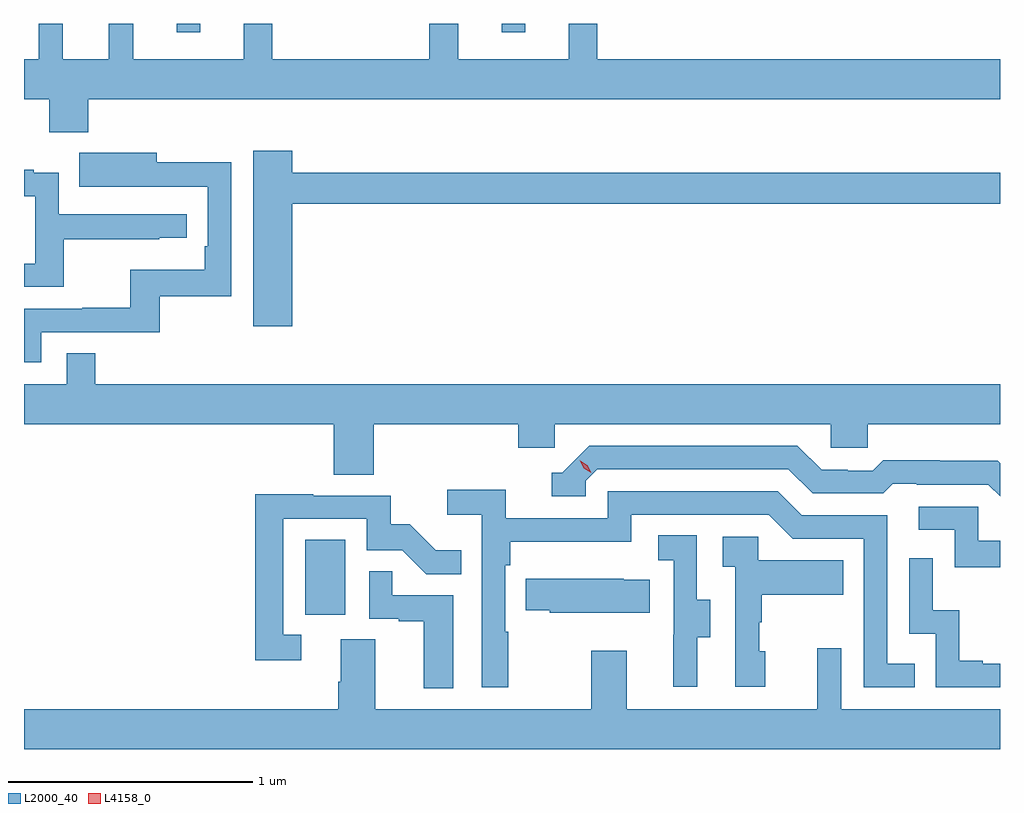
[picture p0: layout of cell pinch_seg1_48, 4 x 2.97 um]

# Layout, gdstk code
import gdstk
lib = gdstk.Library(unit=1e-6, precision=1e-09)
def R(c, l, rs):  # rectangles x0, y0, x1, y1
    for r in rs: c.add(gdstk.rectangle(r[:2], r[2:], *l))
def P(c, l, *ps):  # polygons
    for p in ps: c.add(gdstk.Polygon(p, *l))
L2000_40 = (2000, 40)
L4158_0 = (4158, 0)

pinch_seg1_48 = lib.new_cell('pinch_seg1_48')
R(pinch_seg1_48, L2000_40, [(1066.862,572.262,1067.026,572.569), (1066.335,574.65,1066.432,574.684), (1067.667,574.65,1067.764,574.684)])
P(pinch_seg1_48, L2000_40, [(1065.974,574.376),(1069.71,574.376),(1069.71,574.54),(1068.059,574.54),(1068.059,574.684),(1067.942,574.684),(1067.942,574.54),(1067.489,574.54),(1067.489,574.684),(1067.371,574.684),(1067.371,574.54),(1066.727,574.54),(1066.727,574.684),(1066.61,574.684),(1066.61,574.54),(1066.157,574.54),(1066.157,574.684),(1066.058,574.684),(1066.058,574.54),(1065.869,574.54),(1065.869,574.684),(1065.771,574.684),(1065.771,574.54),(1065.71,574.54),(1065.71,574.376),(1065.814,574.376),(1065.814,574.241),(1065.974,574.241)],
  [(1066.81,573.946),(1069.71,573.946),(1069.71,574.075),(1066.81,574.075),(1066.81,574.165),(1066.649,574.165),(1066.649,573.444),(1066.81,573.444)],
  [(1065.78,573.42),(1066.267,573.42),(1066.267,573.567),(1066.56,573.567),(1066.56,574.118),(1066.255,574.118),(1066.255,574.156),(1065.937,574.156),(1065.937,574.016),(1066.151,574.016),(1066.151,574.017),(1066.464,574.017),(1066.464,573.772),(1066.451,573.772),(1066.451,573.676),(1066.146,573.676),(1066.146,573.521),(1065.949,573.521),(1065.949,573.516),(1065.71,573.516),(1065.71,573.297),(1065.78,573.297)],
  [(1065.872,573.802),(1066.265,573.802),(1066.265,573.807),(1066.378,573.807),(1066.378,573.903),(1065.852,573.903),(1065.852,574.075),(1065.749,574.075),(1065.749,574.087),(1065.71,574.087),(1065.71,573.978),(1065.756,573.978),(1065.756,573.702),(1065.71,573.702),(1065.71,573.606),(1065.872,573.606)],
  [(1067.144,573.044),(1067.735,573.044),(1067.735,572.946),(1067.886,572.946),(1067.886,573.044),(1069.017,573.044),(1069.017,572.946),(1069.167,572.946),(1069.167,573.044),(1069.71,573.044),(1069.71,573.208),(1066.001,573.208),(1066.001,573.335),(1065.885,573.335),(1065.885,573.208),(1065.71,573.208),(1065.71,573.044),(1066.979,573.044),(1066.979,572.836),(1067.144,572.836)],
  [(1068.012,572.811),(1068.06,572.859),(1068.843,572.859),(1068.942,572.76),(1069.231,572.76),(1069.27,572.799),(1069.369,572.799),(1069.369,572.796),(1069.662,572.796),(1069.71,572.748),(1069.71,572.883),(1069.7,572.893),(1069.464,572.893),(1069.464,572.896),(1069.231,572.896),(1069.189,572.853),(1069.086,572.853),(1069.086,572.856),(1068.979,572.856),(1068.88,572.955),(1068.027,572.955),(1067.916,572.844),(1067.873,572.844),(1067.873,572.748),(1068.012,572.748)],
  [(1067.695,572.192),(1067.682,572.192),(1067.682,572.465),(1067.702,572.465),(1067.702,572.561),(1068.198,572.561),(1068.198,572.673),(1068.762,572.673),(1068.861,572.574),(1069.152,572.574),(1069.152,571.965),(1069.361,571.965),(1069.361,572.061),(1069.248,572.061),(1069.248,572.67),(1068.898,572.67),(1068.799,572.769),(1068.102,572.769),(1068.102,572.658),(1067.684,572.658),(1067.684,572.774),(1067.445,572.774),(1067.445,572.672),(1067.586,572.672),(1067.586,571.965),(1067.695,571.965)],
  [(1066.846,572.181),(1066.773,572.181),(1066.773,572.655),(1067.115,572.655),(1067.115,572.526),(1067.26,572.526),(1067.358,572.428),(1067.501,572.428),(1067.501,572.527),(1067.397,572.527),(1067.29,572.634),(1067.214,572.634),(1067.214,572.751),(1066.895,572.751),(1066.895,572.756),(1066.657,572.756),(1066.657,572.076),(1066.846,572.076)],
  [(1069.71,572.565),(1069.62,572.565),(1069.62,572.706),(1069.377,572.706),(1069.377,572.61),(1069.524,572.61),(1069.524,572.457),(1069.71,572.457)],
  [(1068.469,572.17),(1068.523,572.17),(1068.523,572.325),(1068.468,572.325),(1068.468,572.588),(1068.309,572.588),(1068.309,572.485),(1068.372,572.485),(1068.372,572.181),(1068.371,572.181),(1068.371,571.968),(1068.469,571.968)],
  [(1068.748,572.112),(1068.723,572.112),(1068.723,572.231),(1068.733,572.231),(1068.733,572.345),(1069.067,572.345),(1069.067,572.485),(1068.72,572.485),(1068.72,572.583),(1068.573,572.583),(1068.573,572.459),(1068.624,572.459),(1068.624,571.968),(1068.748,571.968)],
  [(1069.71,572.061),(1069.639,572.061),(1069.639,572.074),(1069.544,572.074),(1069.544,572.282),(1069.434,572.282),(1069.434,572.494),(1069.338,572.494),(1069.338,572.184),(1069.446,572.184),(1069.446,571.965),(1069.71,571.965)],
  [(1067.47,572.343),(1067.219,572.343),(1067.219,572.441),(1067.124,572.441),(1067.124,572.247),(1067.245,572.247),(1067.245,572.235),(1067.348,572.235),(1067.348,571.961),(1067.47,571.961)],
  [(1068.275,572.407),(1068.167,572.407),(1068.167,572.41),(1067.767,572.41),(1067.767,572.281),(1067.865,572.281),(1067.865,572.27),(1068.275,572.27)],
  [(1069.71,571.876),(1069.059,571.876),(1069.059,572.125),(1068.962,572.125),(1068.962,571.876),(1068.181,571.876),(1068.181,572.116),(1068.034,572.116),(1068.034,571.876),(1067.149,571.876),(1067.149,572.162),(1067.009,572.162),(1067.009,571.988),(1066.997,571.988),(1066.997,571.876),(1065.71,571.876),(1065.71,571.712),(1069.71,571.712)])
P(pinch_seg1_48, L4158_0, [(1068.034,572.844),(1068.004,572.863),(1067.988,572.896),(1067.988,572.896),(1067.988,572.896),(1068.019,572.876),(1068.034,572.844),(1068.034,572.844)])

lib.write_gds('pinch_seg1_48.gds')
